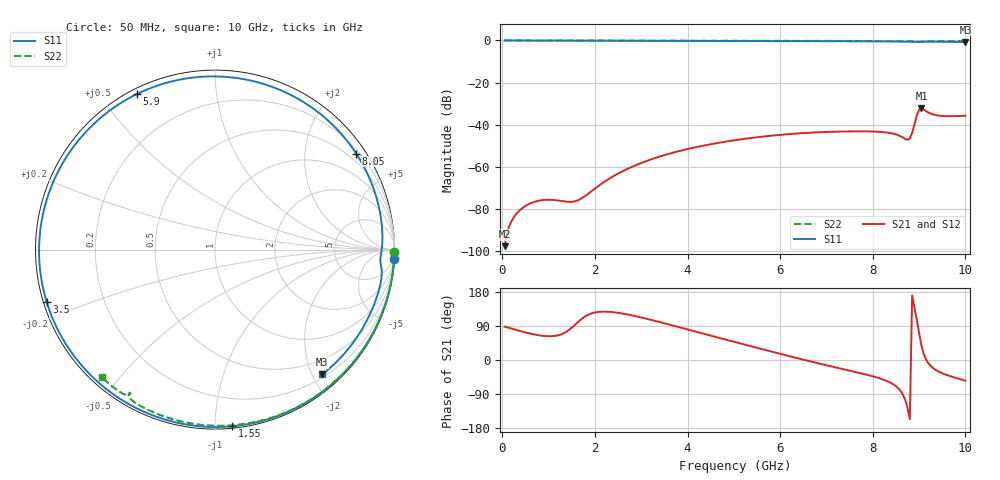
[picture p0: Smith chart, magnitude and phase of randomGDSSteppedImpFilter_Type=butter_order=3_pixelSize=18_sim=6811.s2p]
! freq	dB(S11)	phase(S11)	dB(S12)	phase(S12)
!  dB(S21)	phase(S21)	dB(S22)	phase(S22)
!S-par simulation data
#  GHz  S  DB  R 50
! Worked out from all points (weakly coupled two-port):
!   200 points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, 50 MHz to 10 GHz, reference 50 ohm
!   highest |S21| = -32.17 dB at 9.05 GHz (marker M1); lowest = -97.5 dB at 50 MHz (marker M2)
!   lowest |S11| = -0.8 dB at 10 GHz (marker M3), VSWR 23.08, Z = 12.4 - j108 ohm
!   |S11| at or under -10 dB: nowhere
!   |S22| runs from -0.7 to 0.0 dB; largest |S21 - S12| = 0
!   S11 on the Smith chart (normalised r, x): 50 MHz: 0, -39; 1.55 GHz: 0.01, -1.10; 3.5 GHz: 0.01, -0.15; 5.9 GHz: 0.02, +0.62; 8.05 GHz: 0.29, +3.23; 10 GHz: 0.25, -2.16
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0.05  -0.00 -3.0  -97.54 88.2  -97.54 88.2  -0.00 -0.8
0.4  -0.04 -23.3  -80.06 75.9  -80.06 75.9  -0.01 -6.1
0.85  -0.06 -48.5  -75.75 64.2  -75.75 64.2  -0.02 -12.9
1.55  -0.09 -84.4  -76.37 90.7  -76.37 90.7  -0.03 -23.4
1.75  -0.10 -93.8  -74.35 111.7  -74.35 111.7  -0.03 -26.3
2.6  -0.13 -129.7  -61.98 122.5  -61.98 122.5  -0.05 -38.7
3.4  -0.15 -159.2  -55.03 100.1  -55.03 100.1  -0.07 -50.1
3.5  -0.16 -162.7  -54.36 96.9  -54.36 96.9  -0.07 -51.5
4.25  -0.18 172.0  -50.28 72.5  -50.28 72.5  -0.09 -61.8
5.05  -0.22 145.5  -47.21 46.5  -47.21 46.5  -0.11 -72.5
5.9  -0.27 116.6  -44.96 19.4  -44.96 19.4  -0.14 -83.5
6.7  -0.31 87.8  -43.68 -5.1  -43.68 -5.1  -0.18 -93.5
7.35  -0.36 62.7  -43.17 -23.8  -43.17 -23.8  -0.22 -101.4
8.05  -0.43 34.2  -43.23 -44.7  -43.23 -44.7  -0.27 -109.7
8.35  -0.47 21.6  -43.81 -57.9  -43.81 -57.9  -0.29 -113.3
8.8  -0.60 2.4  -46.45 -156.2  -46.45 -156.2  -0.37 -119.1
8.85  -0.63 0.3  -43.85 170.1  -43.85 170.1  -0.41 -119.8
8.95  -0.70 -3.4  -35.67 106.6  -35.67 106.6  -0.58 -120.9
9  -0.66 -5.0  -32.82 71.0  -32.82 71.0  -0.66 -120.7
9.05  -0.57 -7.1  -32.17 38.5  -32.17 38.5  -0.61 -120.4
9.4  -0.58 -23.2  -35.55 -29.1  -35.55 -29.1  -0.41 -124.6
10  -0.75 -49.3  -35.70 -54.5  -35.70 -54.5  -0.45 -131.7
